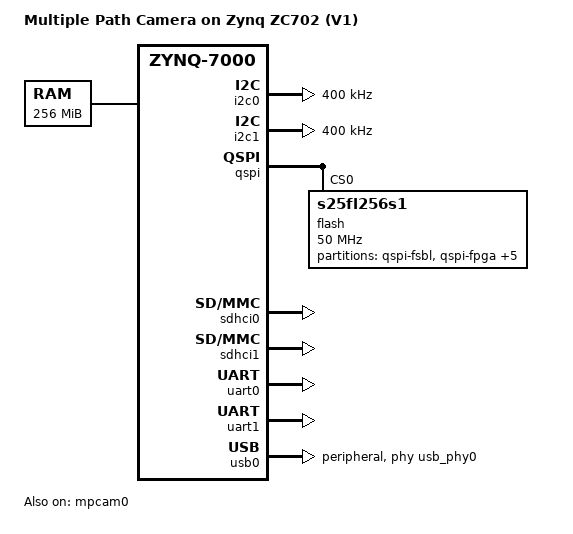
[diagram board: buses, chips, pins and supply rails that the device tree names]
// SPDX-License-Identifier: GPL-2.0+
/*
 *  Copyright (C) 2011 - 2015 Xilinx
 *  Copyright (C) 2012 National Instruments Corp.
 */
/dts-v1/;
#include "zynq-7000-mmc1-mmc0.dtsi"
#include "zynq-mpcam-v1-pl.dtsi"

/ {
	model = "Multiple Path Camera on Zynq ZC702 (V1)";
	compatible = "tdc,mpcam-v1", "xlnx,zynq-zc702", "xlnx,zynq-7000";

	aliases {
		ethernet0 = &gem0;
		i2c0 = &i2c0;
		i2c1 = &i2c1;
		mmc0 = &sdhci0;
		mmc1 = &sdhci1;
		serial0 = &uart0;
		serial1 = &uart1;
		spi0 = &qspi;
	};

	chosen {
		bootargs = "mem=256M console=ttyPS0,115200 earlycon earlyprintk panic=1 root=/dev/mmcblk0p2 rw rootwait clk_ignore_unused";
		stdout-path = "serial0:115200n8";
	};
	cpus {
		cpu@0 {
			operating-points = <666666 1000000 333333 1000000>;
		};
	};

	memory {
		device_type = "memory";
		reg = <0x0 0x10000000>;
	};

	usb_phy0: phy0@e0002000 {
		compatible = "ulpi-phy";
		#phy-cells = <0>;
		reg = <0xe0002000 0x1000>;
		view-port = <0x0170>;
		drv-vbus;
	};
};

&clkc {
	fclk-enable = <0x1>;
	ps-clk-frequency = <33333333>;
};

&gem0 {
	status = "disabled";
	phy-mode = "rgmii-id";
	phy-handle = <&ethernet_phy>;

	ethernet_phy: ethernet-phy@0 {
		reg = <0>;
		device_type = "ethernet-phy";
	};
};

&i2c0 {
	status = "okay";
	clock-frequency = <400000>;
};

&i2c1 {
	status = "okay";
	clock-frequency = <400000>;
};

&intc {
	num_cpus = <2>;
	num_interrupts = <96>;
};

&mpcam0 {
	status = "okay";
};

&qspi {
	status = "okay";
	is-dual = <0>;
	num-cs = <1>;

	flash@0 {
		compatible = "s25fl256s1", "micron,m25p80";
		reg = <0x0>;
		spi-tx-bus-width = <1>;
		spi-rx-bus-width = <4>;
		spi-max-frequency = <50000000>;
		#address-cells = <1>;
		#size-cells = <1>;

		partition@qspi-fsbl {
			label = "qspi-fsbl";
			reg = <0x00000000 0x00040000>;
		};
		partition@qspi-fpga {
			label = "qspi-fpga";
			reg = <0x00040000 0x00500000>;
		};
		partition@qspi-uboot {
			label = "qspi-uboot";
			reg = <0x00540000 0x00080000>;
		};
		partition@qspi-uboot-env {
			label = "qspi-uboot-env";
			reg = <0x005C0000 0x00020000>;
		};
		partition@qspi-device-tree {
			label = "qspi-device-tree";
			reg = <0x005E0000 0x00020000>;
		};
		partition@qspi-image-itb {
			label = "qspi-image-itb";
			reg = <0x00600000 0x00A00000>;
		};
		partition@qspi-rootfs {
			label = "qspi-rootfs";
			reg = <0x01000000 0x01000000>;
		};
	};
};

&sdhci0 {
	status = "okay";
};

&sdhci1 {
	status = "okay";
};

&uart0 {
	status = "okay";
};

&uart1 {
	status = "okay";
};

&usb0 {
	status = "okay";
	dr_mode = "peripheral";
	usb-phy = <&usb_phy0>;
};
